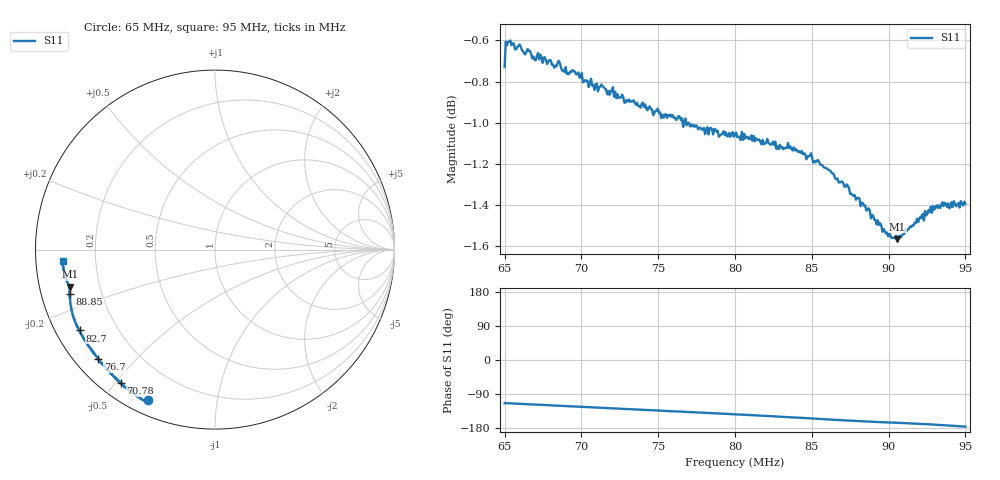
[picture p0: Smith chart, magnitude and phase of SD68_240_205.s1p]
! NanoVNA-App
! Date: 2025-08-09 13:49:19
! Start: 65MHz Stop: 95MHz Points: 401
! S-Parameter data: F S11
# Hz S RI R 50
!  Frequency  S11_Real  S11_Imag
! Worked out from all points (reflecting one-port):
!   401 points, 65 MHz to 95 MHz, reference 50 ohm
!   lowest |S11| = -1.6 dB at 90.58 MHz (marker M1), VSWR 11.13, Z = 4.56 - j6.23 ohm
!   phase of S11 starts at -114 deg and turns -62 deg over the sweep
!   S11 on the Smith chart (normalised r, x): 65 MHz: 0.06, -0.65; 70.78 MHz: 0.06, -0.52; 76.7 MHz: 0.07, -0.39; 82.7 MHz: 0.07, -0.27; 88.85 MHz: 0.09, -0.15; 95 MHz: 0.08, -0.04
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6.5e7  -0.3754 -0.8393
6.5225e7  -0.3796 -0.8516
6.5375e7  -0.3856 -0.8498
6.65e7  -0.4172 -0.8298
6.86e7  -0.4698 -0.7926
6.875e7  -0.4734 -0.7861
6.95e7  -0.4949 -0.7723
7.0775e7  -0.5237 -0.7446
7.25e7  -0.5626 -0.7074
7.3325e7  -0.5825 -0.6885
7.625e7  -0.6403 -0.6232
7.67e7  -0.6498 -0.6113
7.8125e7  -0.6751 -0.5764
7.85e7  -0.6836 -0.567
8e7  -0.7112 -0.5275
8.12e7  -0.7317 -0.4975
8.27e7  -0.754 -0.4503
8.375e7  -0.771 -0.4191
8.555e7  -0.7929 -0.3595
8.75e7  -0.8049 -0.2924
8.885e7  -0.8074 -0.2484
8.9825e7  -0.8077 -0.222
9.0575e7  -0.8091 -0.2066
9.125e7  -0.8174 -0.1914
9.2e7  -0.8268 -0.1728
9.305e7  -0.839 -0.1364
9.47e7  -0.8497 -0.0739
9.5e7  -0.8495 -0.0619
